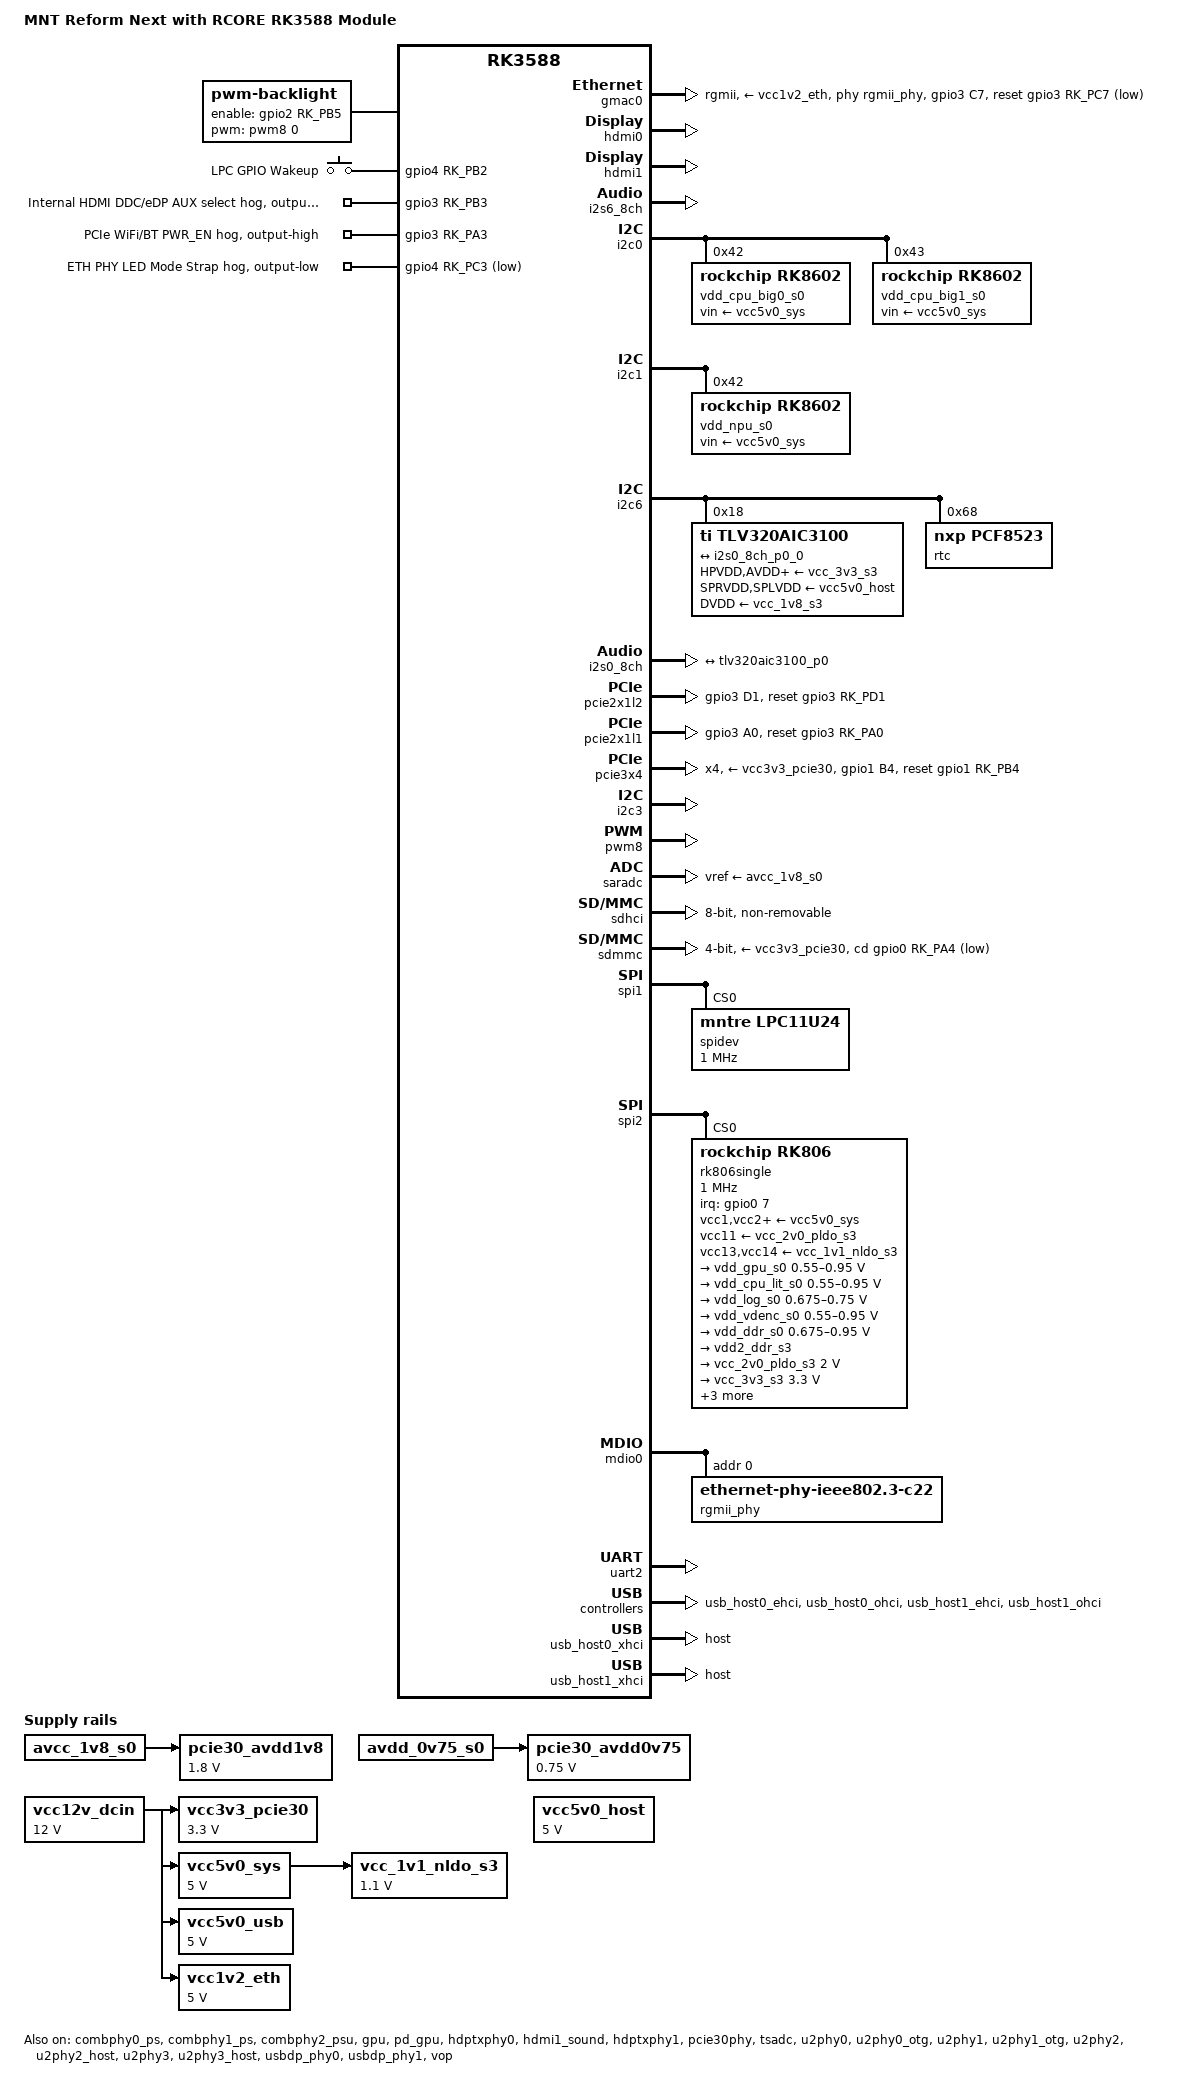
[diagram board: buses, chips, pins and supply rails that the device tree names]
// SPDX-License-Identifier: (GPL-2.0+ OR MIT)
/*
 * Copyright (c) 2021 Rockchip Electronics Co., Ltd.
 * Copyright (c) 2024 MNT Research GmbH
 *
 */

/dts-v1/;

#include <dt-bindings/gpio/gpio.h>
#include <dt-bindings/input/input.h>
#include <dt-bindings/pinctrl/rockchip.h>
#include <dt-bindings/usb/pd.h>
#include <dt-bindings/soc/rockchip,vop2.h>
#include "arm64/rockchip/rk3588.dtsi"

/ {
	model = "MNT Reform Next with RCORE RK3588 Module";
	compatible = "mntre,reform-next-rcore", "firefly,icore3588q", "rockchip,rk3588";

	aliases {
		ethernet0 = &gmac0;
		serial2 = &uart2;
		mmc0 = &sdhci;
		mmc1 = &sdmmc;
	};

	chosen {
		stdout-path = "serial2:1500000n8";
	};

	analog-sound {
		compatible = "audio-graph-card";
		label = "rk3588-tlv320aic3100";

		widgets =
			"Headphone", "Headphone Jack",
			"Microphone", "Microphone Jack",
			"Speaker", "Speaker";

		routing =
		"MIC1RP", "MICBIAS",
		"MIC1RP", "Microphone Jack",
		"Headphone Jack", "HPR",
		"Speaker", "SPK";

		dais = <&i2s0_8ch_p0>;
	};

	backlight: backlight {
		compatible = "pwm-backlight";
		pwms = <&pwm8 0 10000 0>;
		enable-gpios = <&gpio2 RK_PB5 GPIO_ACTIVE_HIGH>;
		brightness-levels = <0 1000>;
		default-brightness-level = <50>;
		num-interpolated-steps = <100>;
		pinctrl-0 = <&backlight_enable>;
		pinctrl-names = "default";
	};

	gpio-keys {
		compatible = "gpio-keys";

		wake {
			label = "LPC GPIO Wakeup";
			linux,code = <57>;
			gpios = <&gpio4 RK_PB2 GPIO_ACTIVE_HIGH>;
			wakeup-source;
		};
	};

	pcie30_avdd1v8: pcie30-avdd1v8 {
		compatible = "regulator-fixed";
		regulator-name = "pcie30_avdd1v8";
		regulator-boot-on;
		regulator-always-on;
		regulator-min-microvolt = <1800000>;
		regulator-max-microvolt = <1800000>;
		vin-supply = <&avcc_1v8_s0>;
	};

	pcie30_avdd0v75: pcie30-avdd0v75 {
		compatible = "regulator-fixed";
		regulator-name = "pcie30_avdd0v75";
		regulator-boot-on;
		regulator-always-on;
		regulator-min-microvolt = <750000>;
		regulator-max-microvolt = <750000>;
		vin-supply = <&avdd_0v75_s0>;
	};

	vcc12v_dcin: vcc12v-dcin-regulator {
		compatible = "regulator-fixed";
		regulator-name = "vcc12v_dcin";
		regulator-always-on;
		regulator-boot-on;
		regulator-min-microvolt = <12000000>;
		regulator-max-microvolt = <12000000>;
	};

	vcc_1v1_nldo_s3: vcc-1v1-nldo-s3 {
		compatible = "regulator-fixed";
		regulator-name = "vcc_1v1_nldo_s3";
		regulator-always-on;
		regulator-boot-on;
		regulator-min-microvolt = <1100000>;
		regulator-max-microvolt = <1100000>;
		vin-supply = <&vcc5v0_sys>;
	};

	vcc3v3_pcie30: vcc3v3-pcie30 {
		compatible = "regulator-fixed";
		regulator-name = "vcc3v3_pcie30";
		regulator-min-microvolt = <3300000>;
		regulator-max-microvolt = <3300000>;
		regulator-boot-on;
		regulator-always-on;
		vin-supply = <&vcc12v_dcin>;
	};

	vcc5v0_host: vcc5v0-host {
		compatible = "regulator-fixed";
		regulator-name = "vcc5v0_host";
		regulator-boot-on;
		regulator-always-on;
		regulator-min-microvolt = <5000000>;
		regulator-max-microvolt = <5000000>;
	};

	vcc5v0_sys: vcc5v0-sys {
		compatible = "regulator-fixed";
		regulator-name = "vcc5v0_sys";
		regulator-always-on;
		regulator-boot-on;
		regulator-min-microvolt = <5000000>;
		regulator-max-microvolt = <5000000>;
		vin-supply = <&vcc12v_dcin>;
	};

	vcc5v0_usb: vcc5v0-usb {
		compatible = "regulator-fixed";
		regulator-name = "vcc5v0_usb";
		regulator-always-on;
		regulator-boot-on;
		regulator-min-microvolt = <5000000>;
		regulator-max-microvolt = <5000000>;
		vin-supply = <&vcc12v_dcin>;
	};

	vcc1v2_eth: vcc1v2-eth {
		compatible = "regulator-fixed";
		regulator-name = "vcc1v2";
		regulator-always-on;
		regulator-boot-on;
		regulator-min-microvolt = <5000000>;
		regulator-max-microvolt = <5000000>;
		vin-supply = <&vcc12v_dcin>;
	};
};

&combphy0_ps {
	status = "okay";
};

&combphy1_ps {
	status = "okay";
};

&combphy2_psu {
	status = "okay";
};

&cpu_b0 {
	cpu-supply = <&vdd_cpu_big0_s0>;
	mem-supply = <&vdd_cpu_big0_s0>;
};

&cpu_b1 {
	cpu-supply = <&vdd_cpu_big0_s0>;
	mem-supply = <&vdd_cpu_big0_s0>;
};

&cpu_b2 {
	cpu-supply = <&vdd_cpu_big1_s0>;
	mem-supply = <&vdd_cpu_big1_s0>;
};

&cpu_b3 {
	cpu-supply = <&vdd_cpu_big1_s0>;
	mem-supply = <&vdd_cpu_big1_s0>;
};

&cpu_l0 {
	cpu-supply = <&vdd_cpu_lit_s0>;
	mem-supply = <&vdd_cpu_lit_mem_s0>;
};

&cpu_l1 {
	cpu-supply = <&vdd_cpu_lit_s0>;
	mem-supply = <&vdd_cpu_lit_mem_s0>;
};

&cpu_l2 {
	cpu-supply = <&vdd_cpu_lit_s0>;
	mem-supply = <&vdd_cpu_lit_mem_s0>;
};

&cpu_l3 {
	cpu-supply = <&vdd_cpu_lit_s0>;
	mem-supply = <&vdd_cpu_lit_mem_s0>;
};

&display_subsystem {
	clocks = <&hdptxphy0>, <&hdptxphy1>;
	clock-names = "pll_hdmiphy0", "pll_hdmiphy1";
};

&gmac0 {
	clock_in_out = "output";
	phy-handle = <&rgmii_phy>;
	phy-mode = "rgmii";
	phy-supply = <&vcc1v2_eth>;
	pinctrl-names = "default";
	pinctrl-0 = <&gmac0_miim
		&gmac0_tx_bus2
		&gmac0_rx_bus2
		&gmac0_rgmii_clk
		&gmac0_rgmii_bus
		&eth0_pins
		&eth_phy_reset>;

	tx_delay = <0x10>;
	rx_delay = <0x10>;

	snps,reset-active-low;
	snps,reset-delays-us = <0 10000 100000>;
	snps,reset-gpio = <&gpio3 RK_PC7 GPIO_ACTIVE_LOW>;

	status = "okay";
};

&gpu {
	mali-supply = <&vdd_gpu_s0>;
	sram-supply = <&vdd_gpu_mem_s0>;
	status = "okay";
};

&pd_gpu {
	status = "okay";
};

&hdmi0 {
	enable-gpios = <&gpio4 RK_PA0 GPIO_ACTIVE_HIGH>;
	status = "okay";
};

&hdmi0_in {
	hdmi0_in_vp2: endpoint {
		remote-endpoint = <&vp2_out_hdmi0>;
	};
};

&hdptxphy0 {
	status = "okay";
};

&hdmi1 {
	enable-gpios = <&gpio4 RK_PB4 GPIO_ACTIVE_HIGH>;
	status = "okay";

	pinctrl-names = "default";
	pinctrl-0 = <&hdmim2_tx1_cec &hdmim1_tx1_hpd &hdmim1_tx1_scl &hdmim1_tx1_sda>;
};

&hdmi1_sound {
	status = "okay";
};

&i2s6_8ch {
	status = "okay";
};

&hdmi1_in {
	hdmi1_in_vp0: endpoint {
		remote-endpoint = <&vp0_out_hdmi1>;
	};
};

&hdptxphy1 {
	status = "okay";
};

&i2c0 {
	pinctrl-names = "default";
	pinctrl-0 = <&i2c0m2_xfer>;
	status = "okay";

	vdd_cpu_big0_s0: vdd_cpu_big0_mem_s0: rk8602@42 {
		compatible = "rockchip,rk8602";
		reg = <0x42>;

		vin-supply = <&vcc5v0_sys>;
		fcs,suspend-voltage-selector = <1>;
		rockchip,suspend-voltage-selector = <1>;

		regulator-compatible = "rk860x-reg";
		regulator-name = "vdd_cpu_big0_s0";
		regulator-min-microvolt = <0x86470>;
		regulator-max-microvolt = <0x100590>;
		regulator-ramp-delay = <0x8fc>;
		regulator-boot-on;
		regulator-always-on;

		regulator-state-mem {
			regulator-off-in-suspend;
		};
	};

	vdd_cpu_big1_s0: vdd_cpu_big1_mem_s0: rk8603@43 {
		compatible = "rockchip,rk8602", "rockchip,rk8603";
		reg = <0x43>;

		vin-supply = <&vcc5v0_sys>;
		fcs,suspend-voltage-selector = <1>;
		rockchip,suspend-voltage-selector = <1>;

		regulator-compatible = "rk860x-reg";
		regulator-name = "vdd_cpu_big1_s0";
		regulator-min-microvolt = <550000>;
		regulator-max-microvolt = <1050000>;
		regulator-ramp-delay = <2300>;
		regulator-boot-on;
		regulator-always-on;

		regulator-state-mem {
			regulator-off-in-suspend;
		};
	};
};

&i2c1 {
  pinctrl-names = "default";
	pinctrl-0 = <&i2c1m2_xfer>;
	status = "okay";

	vdd_npu_s0: vdd_npu_mem_s0: regulator@42 {
		compatible = "rockchip,rk8602";
		reg = <0x42>;
		fcs,suspend-voltage-selector = <1>;
		regulator-name = "vdd_npu_s0";
		regulator-always-on;
		regulator-boot-on;
		regulator-min-microvolt = <550000>;
		regulator-max-microvolt = <950000>;
		regulator-ramp-delay = <2300>;
		vin-supply = <&vcc5v0_sys>;

		regulator-state-mem {
			regulator-off-in-suspend;
		};
	};
};

&i2c6 {
	status = "okay";
	pinctrl-names = "default";
	pinctrl-0 = <&i2c6m0_xfer>;

	tlv320aic3100: codec@18 {
		compatible = "ti,tlv320aic3100";
		reg = <0x18>;
		assigned-clocks = <&cru I2S0_8CH_MCLKOUT>;
		assigned-clock-rates = <12288000>;
		clocks = <&cru I2S0_8CH_MCLKOUT>;
		clock-names = "mclk";
		ai31xx-micbias-vg = <2>;
		#sound-dai-cells = <0>;

		HPVDD-supply = <&vcc_3v3_s3>;
		SPRVDD-supply = <&vcc5v0_host>;
		SPLVDD-supply = <&vcc5v0_host>;
		AVDD-supply = <&vcc_3v3_s3>;
		IOVDD-supply = <&vcc_3v3_s3>;
		DVDD-supply = <&vcc_1v8_s3>;

		status = "okay";

		port {
			tlv320aic3100_p0: endpoint {
				remote-endpoint = <&i2s0_8ch_p0_0>;
			};
		};
	};

	rtc@68 {
		compatible = "nxp,pcf8523";
		reg = <0x68>;
	};
};

&i2s0_8ch {
	pinctrl-names = "default";
	pinctrl-0 = <&i2s0_lrck
		     &i2s0_mclk
		     &i2s0_sclk
		     &i2s0_sdi0
		     &i2s0_sdo0>;
	status = "okay";

	i2s0_8ch_p0: port {
		i2s0_8ch_p0_0: endpoint {
			dai-format = "i2s";
			remote-endpoint = <&tlv320aic3100_p0>;
		};
	};
};

&pcie2x1l2 {
	reset-gpios = <&gpio3 RK_PD1 GPIO_ACTIVE_HIGH>; // checked
	pinctrl-names = "default";
	pinctrl-0 = <&pcie2_0_rst>;
	status = "okay";
};

&pcie2x1l1 {
	reset-gpios = <&gpio3 RK_PA0 GPIO_ACTIVE_HIGH>; // checked
	pinctrl-names = "default";
	pinctrl-0 = <&pcie2_1_rst>;
	status = "okay";
};

&pcie30phy {
	status = "okay";
};

&pcie3x4 {
	pinctrl-names = "default";
	pinctrl-0 = <&pcie3_reset>;
	reset-gpios = <&gpio1 RK_PB4 GPIO_ACTIVE_HIGH>; // checked
	num-lanes = <4>;
	vpcie3v3-supply = <&vcc3v3_pcie30>;
	status = "okay";
};

&i2c3 {
	status = "okay";
};

&pwm8 {
	pinctrl-0 = <&pwm8m2_pins>;
	status = "okay";
};

&saradc {
	vref-supply = <&avcc_1v8_s0>;
	status = "okay";
};

&tsadc {
	status = "okay";
};

&sdhci {
	bus-width = <8>;
	no-sdio;
	no-sd;
	non-removable;
	max-frequency = <150000000>;
	mmc-hs400-1_8v;
	mmc-hs400-enhanced-strobe;
	status = "okay";
};

&sdmmc {
	bus-width = <4>;
	//max-frequency = <48000000>;
	max-frequency = <40000000>;
	no-sdio;
	no-mmc;
	no-1-8-v;
	cap-sd-highspeed;
	vqmmc-supply = <&vcc3v3_pcie30>;
	vmmc-supply = <&vcc3v3_pcie30>;
	cd-gpios = <&gpio0 RK_PA4 GPIO_ACTIVE_LOW>;
	disable-wp;
	status = "okay";
};

&spi1 {
	status = "okay";
	assigned-clocks = <&cru CLK_SPI1>;
	assigned-clock-rates = <200000000>;
	pinctrl-names = "default";
	pinctrl-0 = <&spi1m2_cs0 &spi1m2_pins>;
	num-cs = <1>;

	spidev@0 {
		compatible = "mntre,lpc11u24";
		spi-max-frequency = <1000000>;
		reg = <0>;
	};
};

&spi2 {
	status = "okay";
	assigned-clocks = <&cru CLK_SPI2>;
	assigned-clock-rates = <200000000>;
	pinctrl-names = "default";
	pinctrl-0 = <&spi2m2_cs0 &spi2m2_pins>;
	num-cs = <1>;

	rk806single: pmic@0 {
		compatible = "rockchip,rk806";
		spi-max-frequency = <1000000>;
		reg = <0x0>;

		interrupt-parent = <&gpio0>;
		interrupts = <7 IRQ_TYPE_LEVEL_LOW>;

		pinctrl-names = "default", "pmic-power-off";
		pinctrl-0 = <&pmic_pins>, <&rk806_dvs1_null>,
			    <&rk806_dvs2_null>, <&rk806_dvs3_null>;
		pinctrl-1 = <&rk806_dvs1_pwrdn>;

		/* TODO: missing some thresholds */

		pmic-reset-func = <1>;

		vcc1-supply = <&vcc5v0_sys>;
		vcc2-supply = <&vcc5v0_sys>;
		vcc3-supply = <&vcc5v0_sys>;
		vcc4-supply = <&vcc5v0_sys>;
		vcc5-supply = <&vcc5v0_sys>;
		vcc6-supply = <&vcc5v0_sys>;
		vcc7-supply = <&vcc5v0_sys>;
		vcc8-supply = <&vcc5v0_sys>;
		vcc9-supply = <&vcc5v0_sys>;
		vcc10-supply = <&vcc5v0_sys>;
		vcc11-supply = <&vcc_2v0_pldo_s3>;
		vcc12-supply = <&vcc5v0_sys>;
		vcc13-supply = <&vcc_1v1_nldo_s3>;
		vcc14-supply = <&vcc_1v1_nldo_s3>;
		vcca-supply = <&vcc5v0_sys>;

		#gpio-cells = <2>;
		gpio-controller;

		rk806_dvs1_null: dvs1-null-pins {
			pins = "gpio_pwrctrl2";
			function = "pin_fun0";
		};

		rk806_dvs1_slp: rk806_dvs1_slp {
			pins = "gpio_pwrctrl1";
			function = "pin_fun1";
		};

		rk806_dvs1_pwrdn: rk806_dvs1_pwrdn {
			pins = "gpio_pwrctrl1";
			function = "pin_fun2";
		};

		rk806_dvs1_rst: rk806_dvs1_rst {
			pins = "gpio_pwrctrl1";
			function = "pin_fun3";
		};

		rk806_dvs2_null: rk806_dvs2_null {
			pins = "gpio_pwrctrl2";
			function = "pin_fun0";
		};

		rk806_dvs2_slp: rk806_dvs2_slp {
			pins = "gpio_pwrctrl2";
			function = "pin_fun1";
		};

		rk806_dvs2_pwrdn: rk806_dvs2_pwrdn {
			pins = "gpio_pwrctrl2";
			function = "pin_fun2";
		};

		rk806_dvs2_rst: rk806_dvs2_rst {
			pins = "gpio_pwrctrl2";
			function = "pin_fun3";
		};

		rk806_dvs2_dvs: rk806_dvs2_dvs {
			pins = "gpio_pwrctrl2";
			function = "pin_fun4";
		};

		rk806_dvs2_gpio: rk806_dvs2_gpio {
			pins = "gpio_pwrctrl2";
			function = "pin_fun5";
		};

		rk806_dvs3_null: rk806_dvs3_null {
			pins = "gpio_pwrctrl3";
			function = "pin_fun0";
		};

		rk806_dvs3_slp: rk806_dvs3_slp {
			pins = "gpio_pwrctrl3";
			function = "pin_fun1";
		};

		rk806_dvs3_pwrdn: rk806_dvs3_pwrdn {
			pins = "gpio_pwrctrl3";
			function = "pin_fun2";
		};

		rk806_dvs3_rst: rk806_dvs3_rst {
			pins = "gpio_pwrctrl3";
			function = "pin_fun3";
		};

		rk806_dvs3_dvs: rk806_dvs3_dvs {
			pins = "gpio_pwrctrl3";
			function = "pin_fun4";
		};

		rk806_dvs3_gpio: rk806_dvs3_gpio {
			pins = "gpio_pwrctrl3";
			function = "pin_fun5";
		};

		regulators {
			vdd_gpu_s0: vdd_gpu_mem_s0: dcdc-reg1 {
				regulator-name = "vdd_gpu_s0";
				regulator-always-on;
				regulator-boot-on;
				regulator-min-microvolt = <550000>;
				regulator-max-microvolt = <950000>;
				regulator-ramp-delay = <12500>;
				regulator-enable-ramp-delay = <400>;
				regulator-state-mem {
					regulator-off-in-suspend;
				};
			};

			vdd_cpu_lit_s0: vdd_cpu_lit_mem_s0: dcdc-reg2 {
				regulator-name = "vdd_cpu_lit_s0";
				regulator-always-on;
				regulator-boot-on;
				regulator-min-microvolt = <550000>;
				regulator-max-microvolt = <950000>;
				regulator-ramp-delay = <12500>;
				regulator-state-mem {
					regulator-off-in-suspend;
				};
			};

			vdd_log_s0: dcdc-reg3 {
				regulator-name = "vdd_log_s0";
				regulator-always-on;
				regulator-boot-on;
				regulator-min-microvolt = <675000>;
				regulator-max-microvolt = <750000>;
				regulator-ramp-delay = <12500>;
				regulator-state-mem {
					regulator-off-in-suspend;
					regulator-suspend-microvolt = <750000>;
				};
			};

			vdd_vdenc_s0: dcdc-reg4 {
				regulator-name = "vdd_vdenc_s0";
				regulator-always-on;
				regulator-boot-on;
				regulator-min-microvolt = <550000>;
				regulator-max-microvolt = <950000>;
				regulator-init-microvolt = <750000>;
				regulator-ramp-delay = <12500>;
				regulator-state-mem {
					regulator-off-in-suspend;
				};

			};

			vdd_ddr_s0: dcdc-reg5 {
				regulator-name = "vdd_ddr_s0";
				regulator-always-on;
				regulator-boot-on;
				regulator-min-microvolt = <675000>;
				regulator-max-microvolt = <950000>;
				regulator-ramp-delay = <12500>;
				regulator-state-mem {
					regulator-off-in-suspend;
					regulator-suspend-microvolt = <850000>;
				};

			};

			vdd2_ddr_s3: dcdc-reg6 {
				regulator-name = "vdd2_ddr_s3";
				regulator-always-on;
				regulator-boot-on;

				regulator-state-mem {
					regulator-on-in-suspend;
				};
			};

			vcc_2v0_pldo_s3: dcdc-reg7 {
				regulator-always-on;
				regulator-boot-on;
				regulator-min-microvolt = <2000000>;
				regulator-max-microvolt = <2000000>;
				regulator-name = "vdd_2v0_pldo_s3";
				regulator-state-mem {
					regulator-on-in-suspend;
					regulator-suspend-microvolt = <2000000>;
				};
			};

			vcc_3v3_s3: dcdc-reg8 {
				regulator-name = "vcc_3v3_s3";
				regulator-always-on;
				regulator-boot-on;
				regulator-min-microvolt = <3300000>;
				regulator-max-microvolt = <3300000>;

				regulator-state-mem {
					regulator-on-in-suspend;
					regulator-suspend-microvolt = <3300000>;
				};
			};

			vddq_ddr_s0: dcdc-reg9 {
				regulator-name = "vddq_ddr_s0";
				regulator-always-on;
				regulator-boot-on;

				regulator-state-mem {
					regulator-off-in-suspend;
				};
			};

			vcc_1v8_s3: dcdc-reg10 {
				regulator-name = "vcc_1v8_s3";
				regulator-always-on;
				regulator-boot-on;
				regulator-min-microvolt = <1800000>;
				regulator-max-microvolt = <1800000>;

				regulator-state-mem {
					regulator-on-in-suspend;
					regulator-suspend-microvolt = <1800000>;
				};
			};

			avcc_1v8_s0: pldo-reg1 {
				regulator-always-on;
				regulator-boot-on;
				regulator-min-microvolt = <1800000>;
				regulator-max-microvolt = <1800000>;
				regulator-name = "avcc_1v8_s0";
				regulator-state-mem {
					regulator-off-in-suspend;
				};
			};

			vcc_1v8_s0: pldo-reg2 {
				regulator-name = "vcc_1v8_s0";
				regulator-always-on;
				regulator-boot-on;
				regulator-min-microvolt = <1800000>;
				regulator-max-microvolt = <1800000>;

				regulator-state-mem {
					regulator-off-in-suspend;
					regulator-suspend-microvolt = <1800000>;
				};
			};

			avdd_1v2_s0: pldo-reg3 {
				regulator-name = "avdd_1v2_s0";
				regulator-always-on;
				regulator-boot-on;
				regulator-min-microvolt = <1200000>;
				regulator-max-microvolt = <1200000>;

				regulator-state-mem {
					regulator-off-in-suspend;
				};
			};

			vcc_3v3_s0: pldo-reg4 {
				regulator-name = "vcc_3v3_s0";
				regulator-always-on;
				regulator-boot-on;
				regulator-min-microvolt = <3300000>;
				regulator-max-microvolt = <3300000>;
				regulator-state-mem {
					regulator-on-in-suspend;
				};
			};

			vccio_sd_s0: pldo-reg5 {
				regulator-name = "vccio_sd_s0";
				regulator-always-on;
				regulator-boot-on;
				regulator-min-microvolt = <1800000>;
				regulator-max-microvolt = <3300000>;
				regulator-state-mem {
					regulator-off-in-suspend;
				};
			};

			pldo6_s3: pldo-reg6 {
				regulator-name = "pldo6_s3";
				regulator-always-on;
				regulator-boot-on;
				regulator-min-microvolt = <1800000>;
				regulator-max-microvolt = <1800000>;

				regulator-state-mem {
					regulator-on-in-suspend;
					regulator-suspend-microvolt = <1800000>;
				};
			};

			vdd_0v75_s3: nldo-reg1 {
				regulator-name = "vdd_0v75_s3";
				regulator-always-on;
				regulator-boot-on;
				regulator-min-microvolt = <750000>;
				regulator-max-microvolt = <750000>;

				regulator-state-mem {
					regulator-on-in-suspend;
					regulator-suspend-microvolt = <750000>;
				};
			};

			vdd_ddr_pll_s0: nldo-reg2 {
				regulator-name = "vdd_ddr_pll_s0";
				regulator-always-on;
				regulator-boot-on;
				regulator-min-microvolt = <850000>;
				regulator-max-microvolt = <850000>;

				regulator-state-mem {
					regulator-off-in-suspend;
					regulator-suspend-microvolt = <850000>;
				};
			};

			avdd_0v75_s0: nldo-reg3 {
				regulator-name = "avdd_0v75_s0";
				regulator-always-on;
				regulator-boot-on;
				regulator-min-microvolt = <750000>;
				regulator-max-microvolt = <750000>;

				regulator-state-mem {
					regulator-off-in-suspend;
				};
			};

			vdd_0v85_s0: nldo-reg4 {
				regulator-name = "vdd_0v85_s0";
				regulator-always-on;
				regulator-boot-on;
				regulator-min-microvolt = <850000>;
				regulator-max-microvolt = <850000>;

				regulator-state-mem {
					regulator-off-in-suspend;
				};
			};

			vdd_0v75_s0: nldo-reg5 {
				regulator-always-on;
				regulator-boot-on;
				regulator-min-microvolt = <750000>;
				regulator-max-microvolt = <750000>;
				regulator-name = "vdd_0v75_s0";
				regulator-state-mem {
					regulator-off-in-suspend;
				};
			};
		};
	};
};

&mdio0 {
	rgmii_phy: ethernet-phy@0 {
		compatible = "ethernet-phy-ieee802.3-c22";
		reg = <0x0>; /* 0 for KSZ9031RNX */
	};
};

&pinctrl {
	backlight {
		backlight_enable: backlight-enable {
			rockchip,pins = <2 RK_PB5 RK_FUNC_GPIO &pcfg_pull_none>;
		};
	};

	pcie2 {
		pcie2_0_rst: pcie2-0-reset {
			rockchip,pins = <3 RK_PD1 RK_FUNC_GPIO &pcfg_pull_none>;
		};
	};

	pcie2_1 {
		pcie2_1_rst: pcie2-1-reset {
			rockchip,pins = <3 RK_PA0 RK_FUNC_GPIO &pcfg_pull_none>;
		};
	};

	pcie3 {
		pcie3_reset: pcie3-reset {
			rockchip,pins = <1 RK_PB4 RK_FUNC_GPIO &pcfg_pull_none>;
		};
	};

	eth_phy {
		eth_phy_reset: eth-phy-reset {
			rockchip,pins = <3 RK_PC7 RK_FUNC_GPIO &pcfg_pull_none>;
		};
	};
};

&gpio3 {
	internal-hdmi-hog {
		gpios = <RK_PB3 GPIO_ACTIVE_HIGH>;
		output-low;
		line-name = "Internal HDMI DDC/eDP AUX select";
		gpio-hog;
	};

	r2-wifi-enable {
		gpios = <RK_PA3 GPIO_ACTIVE_HIGH>;
		output-high;
		line-name = "PCIe WiFi/BT PWR_EN";
		gpio-hog;
	};
};

&gpio4 {
  /* there are no resistor straps for config options
  like LED_MODE on RCORE R1, so use a GPIO hog
  to configure the LED_MODE at PHY reset time */
  eth-phy-strap-hog {
    gpios = <RK_PC3 GPIO_ACTIVE_LOW>;
    output-low;
    line-name = "ETH PHY LED Mode Strap";
    gpio-hog;
  };
};

&u2phy0 {
	status = "okay";
};

&u2phy0_otg {
	status = "okay";
};

&u2phy1 {
	status = "okay";
};

&u2phy1_otg {
	status = "okay";
};

&u2phy2 {
	status = "okay";
};

&u2phy2_host {
	phy-supply = <&vcc5v0_host>;
	status = "okay";
};

&u2phy3 {
	status = "okay";
};

&u2phy3_host {
	phy-supply = <&vcc5v0_host>;
	status = "okay";
};

&uart2 {
	pinctrl-0 = <&uart2m0_xfer>;
	status = "okay";
};

&usb_host0_ehci {
	status = "okay";
};

&usb_host0_ohci {
	status = "okay";
};

&usb_host1_ehci {
	status = "okay";
};

&usb_host1_ohci {
	status = "okay";
};

&usbdp_phy0 {
	status = "okay";
};

/*&usbdp_phy0_dp {
	status = "okay";
};

&usbdp_phy0_u3 {
	status = "okay";
};*/

&usbdp_phy1 {
	status = "okay";
};

/*&usbdp_phy1_u3 {
	status = "okay";
};*/

&usb_host0_xhci {
	dr_mode = "host";
	status = "okay";
};

&usb_host1_xhci {
	dr_mode = "host";
	status = "okay";
};

&vop_mmu {
	status = "okay";
};

&vop {
	status = "okay";
};

&vp0 {
	vp0_out_hdmi1: endpoint@ROCKCHIP_VOP2_EP_HDMI1 {
		reg = <ROCKCHIP_VOP2_EP_HDMI1>;
		remote-endpoint = <&hdmi1_in_vp0>;
	};
};

&vp2 {
	vp2_out_hdmi0: endpoint@ROCKCHIP_VOP2_EP_HDMI0 {
		reg = <ROCKCHIP_VOP2_EP_HDMI0>;
		remote-endpoint = <&hdmi0_in_vp2>;
	};
};
